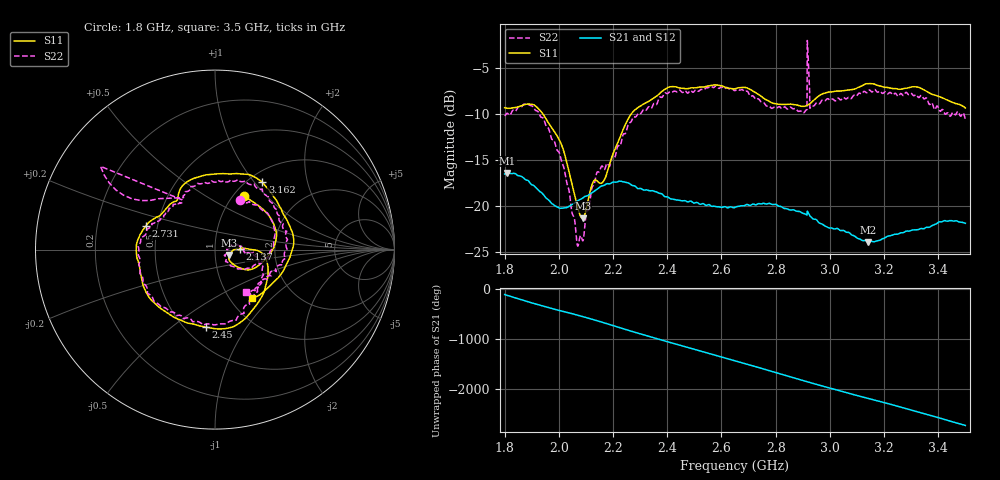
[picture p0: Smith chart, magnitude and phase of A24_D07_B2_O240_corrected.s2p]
! Created with skrf 1.9.0 (http://scikit-rf.org).
# Hz S RI R 50.0
!freq ReS11 ImS11 ReS21 ImS21 ReS12 ImS12 ReS22 ImS22
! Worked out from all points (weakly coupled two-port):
!   1601 points, 1.8 GHz to 3.5 GHz, reference 50 ohm
!   highest |S21| = -16.42 dB at 1.811 GHz (marker M1); lowest = -23.9 dB at 3.142 GHz (marker M2)
!   lowest |S11| = -21.3 dB at 2.088 GHz (marker M3), VSWR 1.19, Z = 58.6 - j3.57 ohm
!   |S11| at or under -10 dB: 1.941 GHz to 2.268 GHz (326.7 MHz wide, 15.5 % of centre)
!   |S22| runs from -24.3 to -2.1 dB; largest |S21 - S12| = 0.0028
!   S11 on the Smith chart (normalised r, x): 1.8 GHz: 1.12, +0.76; 2.137 GHz: 1.32, +0.00; 2.45 GHz: 0.63, -0.67; 2.731 GHz: 0.43, +0.14; 3.162 GHz: 1.15, +1.10; 3.5 GHz: 1.26, -0.77
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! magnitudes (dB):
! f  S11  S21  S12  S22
! 1.8 GHz  -9.3  -16.5  -16.5  -10.2
! 1.811 GHz  -9.4  -16.4  -16.4  -9.9
! 1.881 GHz  -9.0  -17.2  -17.2  -9.0
! 1.942 GHz  -10.1  -18.7  -18.7  -10.5
! 2.011 GHz  -13.5  -20.2  -20.2  -15.3
! 2.068 GHz  -20.0  -19.5  -19.5  -24.2
! 2.084 GHz  -21.3  -19.2  -19.2  -23.4
! 2.088 GHz  -21.3  -19.1  -19.1  -23.8
! 2.137 GHz  -17.2  -18.3  -18.3  -16.8
! 2.168 GHz  -17.2  -17.8  -17.8  -16.0
! 2.268 GHz  -10.0  -17.7  -17.7  -10.8
! 2.367 GHz  -7.9  -18.6  -18.5  -8.5
! 2.45 GHz  -7.2  -19.4  -19.4  -7.5
! 2.65 GHz  -7.3  -20.2  -20.1  -7.5
! 2.731 GHz  -7.8  -19.8  -19.9  -8.4
! 2.903 GHz  -9.2  -20.8  -20.8  -9.9
! 2.925 GHz  -8.9  -21.0  -21.0  -7.5
! 2.934 GHz  -8.7  -21.3  -21.3  -9.2
! 3.142 GHz  -6.7  -23.9  -23.8  -7.5
! 3.162 GHz  -6.8  -23.9  -23.8  -7.5
! 3.217 GHz  -7.2  -23.2  -23.2  -7.8
! 3.5 GHz  -9.4  -21.9  -21.9  -10.6
